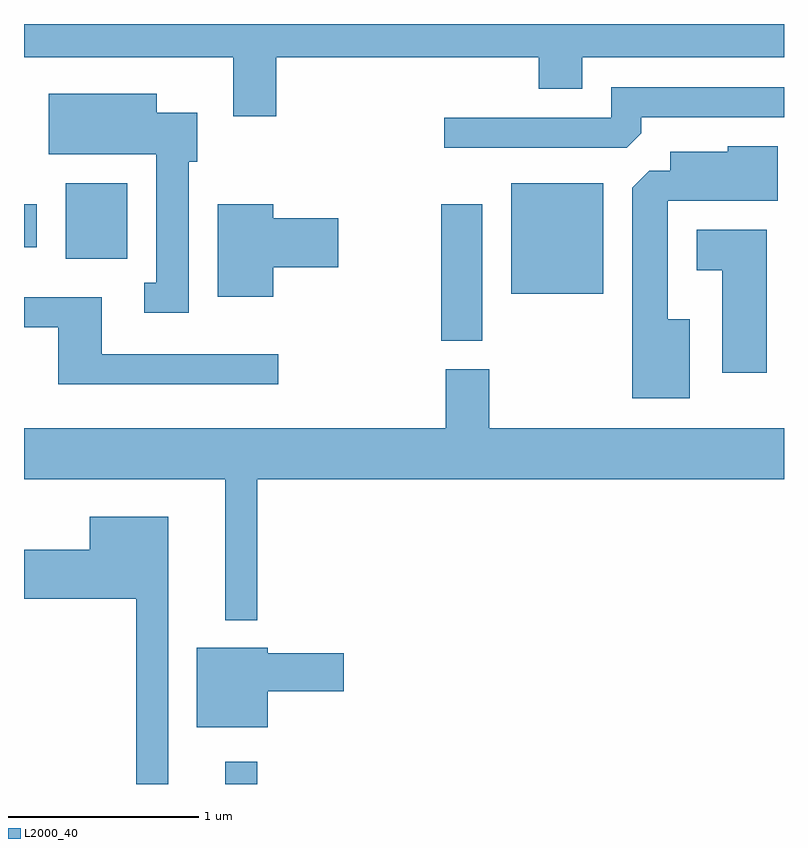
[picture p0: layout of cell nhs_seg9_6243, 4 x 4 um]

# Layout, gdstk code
import gdstk
lib = gdstk.Library(unit=1e-6, precision=1e-09)
def R(c, l, rs):  # rectangles x0, y0, x1, y1
    for r in rs: c.add(gdstk.rectangle(r[:2], r[2:], *l))
def P(c, l, *ps):  # polygons
    for p in ps: c.add(gdstk.Polygon(p, *l))
L2000_40 = (2000, 40)

nhs_seg9_6243 = lib.new_cell('nhs_seg9_6243')
R(nhs_seg9_6243, L2000_40, [(370.671,1992.432,370.839,1992.548), (371.806,1994.766,372.024,1995.484), (372.176,1995.011,372.659,1995.594), (369.831,1995.196,370.154,1995.594), (369.611,1995.256,369.679,1995.484)])
P(nhs_seg9_6243, L2000_40, [(370.939,1996.256),(372.321,1996.256),(372.321,1996.091),(372.549,1996.091),(372.549,1996.256),(373.611,1996.256),(373.611,1996.432),(369.611,1996.432),(369.611,1996.256),(370.711,1996.256),(370.711,1995.946),(370.939,1995.946)],
  [(372.859,1995.857),(372.859,1995.941),(373.611,1995.941),(373.611,1996.099),(372.701,1996.099),(372.701,1995.939),(371.823,1995.939),(371.823,1995.781),(372.784,1995.781)],
  [(370.479,1995.706),(370.524,1995.706),(370.524,1995.964),(370.309,1995.964),(370.309,1996.064),(369.741,1996.064),(369.741,1995.746),(370.306,1995.746),(370.306,1995.069),(370.243,1995.069),(370.243,1994.911),(370.479,1994.911)],
  [(373.114,1994.879),(372.999,1994.879),(372.999,1995.501),(373.579,1995.501),(373.579,1995.789),(373.316,1995.789),(373.316,1995.759),(373.011,1995.759),(373.011,1995.659),(372.902,1995.659),(372.811,1995.569),(372.811,1994.461),(373.114,1994.461)],
  [(370.924,1995.151),(371.264,1995.151),(371.264,1995.409),(370.924,1995.409),(370.924,1995.484),(370.631,1995.484),(370.631,1994.996),(370.924,1994.996)],
  [(373.519,1995.349),(373.151,1995.349),(373.151,1995.136),(373.286,1995.136),(373.286,1994.596),(373.519,1994.596)],
  [(370.948,1994.694),(370.019,1994.694),(370.019,1994.994),(369.611,1994.994),(369.611,1994.836),(369.791,1994.836),(369.791,1994.536),(370.948,1994.536)],
  [(370.839,1994.036),(373.611,1994.036),(373.611,1994.304),(372.059,1994.304),(372.059,1994.614),(371.831,1994.614),(371.831,1994.304),(369.611,1994.304),(369.611,1994.036),(370.671,1994.036),(370.671,1993.293),(370.839,1993.293)],
  [(370.369,1993.839),(369.956,1993.839),(369.956,1993.664),(369.611,1993.664),(369.611,1993.406),(370.201,1993.406),(370.201,1992.432),(370.369,1992.432)],
  [(370.894,1992.921),(371.294,1992.921),(371.294,1993.119),(370.894,1993.119),(370.894,1993.149),(370.521,1993.149),(370.521,1992.731),(370.894,1992.731)])

lib.write_gds('nhs_seg9_6243.gds')
